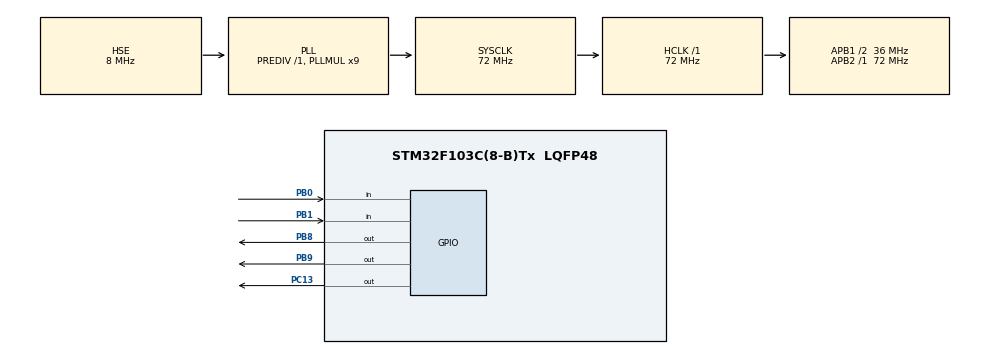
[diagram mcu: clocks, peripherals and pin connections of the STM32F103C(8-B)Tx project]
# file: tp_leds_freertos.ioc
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Mcu.Family=STM32F1
RCC.PLLSourceVirtual=RCC_PLLSOURCE_HSE
FREERTOS.Tasks01=defaultTask,24,128,StartDefaultTask,Default,NULL,Dynamic,NULL,NULL
PD1-OSC_OUT.Mode=HSE-External-Oscillator
PC13-TAMPER-RTC.Signal=GPIO_Output
NVIC.TIM1_UP_IRQn=true\:0\:0\:false\:false\:true\:false\:false\:true
PD0-OSC_IN.Signal=RCC_OSC_IN
RCC.APB1CLKDivider=RCC_HCLK_DIV2
RCC.SYSCLKSource=RCC_SYSCLKSOURCE_PLLCLK
ProjectManager.StackSize=0x400
VP_FREERTOS_VS_CMSIS_V2.Mode=CMSIS_V2
PD1-OSC_OUT.Signal=RCC_OSC_OUT
PA13.Signal=SYS_JTMS-SWDIO
ProjectManager.TargetToolchain=STM32CubeIDE
PB1.GPIO_PuPd=GPIO_PULLUP
RCC.HCLKFreq_Value=72000000
RCC.APB2TimFreq_Value=72000000
RCC.USBFreq_Value=72000000
RCC.AHBFreq_Value=72000000
PD0-OSC_IN.Mode=HSE-External-Oscillator
board=custom
RCC.PLLMUL=RCC_PLL_MUL9
RCC.APB2Freq_Value=72000000
PA14.Mode=Serial_Wire
VP_SYS_VS_tim1.Mode=TIM1
PA13.Mode=Serial_Wire
Mcu.Name=STM32F103C(8-B)Tx
FREERTOS.configTOTAL_HEAP_SIZE=4096
RCC.SYSCLKFreq_VALUE=72000000
Mcu.Package=LQFP48
PB9.Signal=GPIO_Output
PB1.Signal=GPIO_Input
NVIC.TimeBase=TIM1_UP_IRQn
NVIC.TimeBaseIP=TIM1
PA14.Signal=SYS_JTCK-SWCLK
ProjectManager.HeapSize=0x200
NVIC.PriorityGroup=NVIC_PRIORITYGROUP_4
RCC.APB1TimFreq_Value=72000000
PB8.Signal=GPIO_Output
RCC.APB1Freq_Value=36000000
PB0.Signal=GPIO_Input
PB0.GPIO_PuPd=GPIO_PULLUP

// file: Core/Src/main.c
/* USER CODE BEGIN Header */
/**
  ******************************************************************************
  * @file           : main.c
  * @brief          : Main program body
  ******************************************************************************
  * @attention
  *
  * <h2><center>&copy; Copyright (c) 2021 STMicroelectronics.
  * All rights reserved.</center></h2>
  *
  * This software component is licensed by ST under BSD 3-Clause license,
  * the "License"; You may not use this file except in compliance with the
  * License. You may obtain a copy of the License at:
  *                        opensource.org/licenses/BSD-3-Clause
  *
  ******************************************************************************
  */
/* USER CODE END Header */
#include "main.h"
#include "cmsis_os.h"

/* USER CODE BEGIN Includes */
#include "arrebote.h"
#include "task.h"

/* USER CODE END Includes */

/* USER CODE BEGIN PD */
#define LED_TICKS (125)
/* USER CODE END PD */

/* Definitions for defaultTask */
//osThreadId_t defaultTaskHandle;
//const osThreadAttr_t defaultTask_attributes = {
//  .name = "defaultTask",
//  .priority = (osPriority_t) osPriorityNormal,
//  .stack_size = 128 * 4
//};

void SystemClock_Config(void);
static void MX_GPIO_Init(void);
void StartDefaultTask(void *argument);

/* USER CODE BEGIN 0 */
	void setear_led(int n_led, int estado)
	{
		switch(n_led)
		{
			case 0: HAL_GPIO_WritePin(GPIOB, GPIO_PIN_8, (estado)?GPIO_PIN_SET:GPIO_PIN_RESET); break;
			case 1: HAL_GPIO_WritePin(GPIOB, GPIO_PIN_9, (estado)?GPIO_PIN_SET:GPIO_PIN_RESET); break;
		}
	}

	void invertir_led(int n_led)
	{
		switch(n_led)
		{
			case 0: HAL_GPIO_TogglePin(GPIOB, GPIO_PIN_8); break;
			case 1: HAL_GPIO_TogglePin(GPIOB, GPIO_PIN_9); break;
		}
	}

	int leer_pulsador(int n_pulsador)
	{
		int ret;
		switch(n_pulsador)
		{
			case 0: ret = HAL_GPIO_ReadPin(GPIOB, GPIO_PIN_0); break;
			case 1: ret = HAL_GPIO_ReadPin(GPIOB, GPIO_PIN_1); break;
		}
		return ret;
	}

	void tarea_led_placa(void *p)
	{
		while(1)
		{
			HAL_GPIO_TogglePin(GPIOC, GPIO_PIN_13);
			vTaskDelay(LED_TICKS/portTICK_RATE_MS);
		}
	}

void tarea_leds_boton(void *p)
{
	int i;
	for (;;)
	{
		for (i = 0; i < 2; i++)
		{
			if (leer_pulsador(i))
			{
				invertir_led(i);
			}
		}
		vTaskDelay(LED_TICKS/portTICK_RATE_MS);
	}
}

/* USER CODE END 0 */

int main(void)
{

  /* MCU Configuration--------------------------------------------------------*/

  /* Reset of all peripherals, Initializes the Flash interface and the Systick. */
  HAL_Init();

  /* Configure the system clock */
  SystemClock_Config();

  /* Initialize all configured peripherals */
  MX_GPIO_Init();
  /* USER CODE BEGIN 2 */
  setear_led(0, 1);
  setear_led(1, 0);
  /* USER CODE END 2 */

  /* Init scheduler */
  osKernelInitialize();

  /* Create the thread(s) */
  /* creation of defaultTask */
  //defaultTaskHandle = osThreadNew(StartDefaultTask, NULL, &defaultTask_attributes);

  /* USER CODE BEGIN RTOS_THREADS */
  /* add threads, ... */
  xTaskCreate(tarea_led_placa,
		  "led",
		  configMINIMAL_STACK_SIZE,
		  NULL,
		  tskIDLE_PRIORITY+1,
		  NULL);

  xTaskCreate(tarea_leds_boton,
  		  "otroled",
  		  configMINIMAL_STACK_SIZE,
  		  NULL,
  		  tskIDLE_PRIORITY+1,
  		  NULL);

  /* USER CODE END RTOS_THREADS */

  /* Start scheduler */
  osKernelStart();

  /* We should never get here as control is now taken by the scheduler */
  /* Infinite loop */
  while (1)
  {

  }
}

void SystemClock_Config(void)
{
  RCC_OscInitTypeDef RCC_OscInitStruct = {0};
  RCC_ClkInitTypeDef RCC_ClkInitStruct = {0};

  /** Initializes the RCC Oscillators according to the specified parameters
  * in the RCC_OscInitTypeDef structure.
  */
  RCC_OscInitStruct.OscillatorType = RCC_OSCILLATORTYPE_HSE;
  RCC_OscInitStruct.HSEState = RCC_HSE_ON;
  RCC_OscInitStruct.HSEPredivValue = RCC_HSE_PREDIV_DIV1;
  RCC_OscInitStruct.HSIState = RCC_HSI_ON;
  RCC_OscInitStruct.PLL.PLLState = RCC_PLL_ON;
  RCC_OscInitStruct.PLL.PLLSource = RCC_PLLSOURCE_HSE;
  RCC_OscInitStruct.PLL.PLLMUL = RCC_PLL_MUL9;
  if (HAL_RCC_OscConfig(&RCC_OscInitStruct) != HAL_OK)
  {
    Error_Handler();
  }
  /** Initializes the CPU, AHB and APB buses clocks
  */
  RCC_ClkInitStruct.ClockType = RCC_CLOCKTYPE_HCLK|RCC_CLOCKTYPE_SYSCLK
                              |RCC_CLOCKTYPE_PCLK1|RCC_CLOCKTYPE_PCLK2;
  RCC_ClkInitStruct.SYSCLKSource = RCC_SYSCLKSOURCE_PLLCLK;
  RCC_ClkInitStruct.AHBCLKDivider = RCC_SYSCLK_DIV1;
  RCC_ClkInitStruct.APB1CLKDivider = RCC_HCLK_DIV2;
  RCC_ClkInitStruct.APB2CLKDivider = RCC_HCLK_DIV1;

  if (HAL_RCC_ClockConfig(&RCC_ClkInitStruct, FLASH_LATENCY_2) != HAL_OK)
  {
    Error_Handler();
  }
}

static void MX_GPIO_Init(void)
{
  GPIO_InitTypeDef GPIO_InitStruct = {0};

  /* GPIO Ports Clock Enable */
  __HAL_RCC_GPIOC_CLK_ENABLE();
  __HAL_RCC_GPIOD_CLK_ENABLE();
  __HAL_RCC_GPIOB_CLK_ENABLE();
  __HAL_RCC_GPIOA_CLK_ENABLE();

  /*Configure GPIO pin Output Level */
  HAL_GPIO_WritePin(GPIOC, GPIO_PIN_13, GPIO_PIN_RESET);

  /*Configure GPIO pin Output Level */
  HAL_GPIO_WritePin(GPIOB, GPIO_PIN_8|GPIO_PIN_9, GPIO_PIN_RESET);

  /*Configure GPIO pin : PC13 */
  GPIO_InitStruct.Pin = GPIO_PIN_13;
  GPIO_InitStruct.Mode = GPIO_MODE_OUTPUT_PP;
  GPIO_InitStruct.Pull = GPIO_NOPULL;
  GPIO_InitStruct.Speed = GPIO_SPEED_FREQ_LOW;
  HAL_GPIO_Init(GPIOC, &GPIO_InitStruct);

  /*Configure GPIO pins : PB0 PB1 */
  GPIO_InitStruct.Pin = GPIO_PIN_0|GPIO_PIN_1;
  GPIO_InitStruct.Mode = GPIO_MODE_INPUT;
  GPIO_InitStruct.Pull = GPIO_PULLUP;
  HAL_GPIO_Init(GPIOB, &GPIO_InitStruct);

  /*Configure GPIO pins : PB8 PB9 */
  GPIO_InitStruct.Pin = GPIO_PIN_8|GPIO_PIN_9;
  GPIO_InitStruct.Mode = GPIO_MODE_OUTPUT_PP;
  GPIO_InitStruct.Pull = GPIO_NOPULL;
  GPIO_InitStruct.Speed = GPIO_SPEED_FREQ_LOW;
  HAL_GPIO_Init(GPIOB, &GPIO_InitStruct);

}

void StartDefaultTask(void *argument)
{
  for(;;)
  {
    osDelay(1);
  }
}

void HAL_TIM_PeriodElapsedCallback(TIM_HandleTypeDef *htim)
{
  if (htim->Instance == TIM1) {
    HAL_IncTick();
  }
}

void Error_Handler(void)
{
}

/************************ (C) COPYRIGHT STMicroelectronics *****END OF FILE****/
